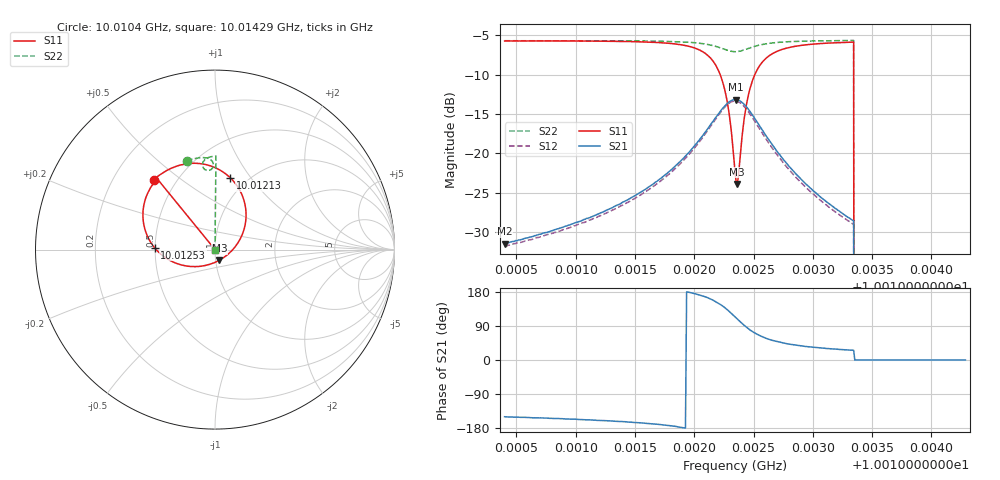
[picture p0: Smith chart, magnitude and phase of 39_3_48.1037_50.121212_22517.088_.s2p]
#  HZ  S  RI  R  50.00
! Rohde & Schwarz Vector Network Analyzer
! Rohde-Schwarz,ZNB20-2Port,1311601062101988,3.16
! Created: UTC 12/23/2023, 3:38:33 AM
! freq[Hz]  re:S11  im:S11  re:S21  im:S21  re:S12  im:S12  re:S22  im:S22
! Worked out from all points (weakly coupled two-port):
!   401 points, 10.0104 GHz to 10.01429 GHz, reference 50 ohm
!   highest |S21| = -13.16 dB at 10.01235 GHz (marker M1); lowest = -31.4 dB at 10.0104 GHz (marker M2)
!   lowest |S11| = -23.9 dB at 10.01236 GHz (marker M3), VSWR 1.14, Z = 52.1 - j6.21 ohm
!   |S11| at or under -10 dB: 10.01222 GHz to 10.01251 GHz (291.9 kHz wide, 0.00292 % of centre); 10.01334 GHz to end of sweep
!   |S22| runs from - to -5.7 dB; largest |S21 - S12| = 0.01
!   S11 on the Smith chart (normalised r, x): 10.0104 GHz: 0.38, +0.40; 10.01213 GHz: 0.84, +0.80; 10.01253 GHz: 0.50, +0.01; 10.01429 GHz: 1.00, +0.00
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1.00104e10  -0.3408 0.3896  -0.0231 -0.0135  -0.0216 -0.0142  -0.1564 0.4953
1.0011051e10  -0.2841 0.432  -0.0346 -0.0145  -0.0326 -0.0157  -0.1127 0.5071
1.0011702e10  -0.1686 0.4765  -0.0671 -0.0118  -0.064 -0.0146  -0.0612 0.5124
1.0011984e10  -0.0382 0.4704  -0.1076 0.00648  -0.1045 0.000775  -0.0311 0.505
1.001213e10  0.0858 0.3992  -0.142 0.046  -0.1406 0.037  -0.0136 0.4888
1.0012198e10  0.1481 0.3101  -0.1538 0.0857  -0.155 0.0756  -0.00893 0.474
1.0012256e10  0.1732 0.1875  -0.1497 0.1325  -0.1525 0.1235  -0.012 0.4581
1.0012295e10  0.1535 0.0881  -0.1314 0.1672  -0.1354 0.1591  -0.0199 0.4476
1.0012343e10  0.0722 -0.0263  -0.0888 0.2009  -0.094 0.1936  -0.0356 0.4409
1.0012353e10  0.0483 -0.0445  -0.0782 0.2053  -0.083 0.1983  -0.0394 0.4407
1.0012363e10  0.0243 -0.0593  -0.068 0.2082  -0.0722 0.2014  -0.043 0.4409
1.0012373e10  -0.00258 -0.0723  -0.057 0.2101  -0.0615 0.2034  -0.0464 0.4417
1.0012441e10  -0.1872 -0.0856  0.0127 0.197  0.00696 0.1907  -0.0647 0.455
1.0012479e10  -0.2684 -0.0501  0.0398 0.1761  0.033 0.1707  -0.0691 0.4655
1.0012528e10  -0.337 0.0109  0.0588 0.1478  0.0521 0.1433  -0.0696 0.4777
1.0012615e10  -0.3912 0.1157  0.0704 0.1047  0.0638 0.102  -0.0628 0.4939
1.0012732e10  -0.4009 0.2154  0.0662 0.0688  0.0606 0.0678  -0.0502 0.5062
1.0012994e10  -0.3679 0.3291  0.0487 0.0331  0.0449 0.0333  -0.0237 0.5171
1.0013325e10  -0.324 0.392  0.0343 0.0165  0.0317 0.0175  0.0037 0.5213
1.0013373e10  0 0  0 0  0 0  0 0
1.0013645e10  0 0  0 0  0 0  0 0
1.0014286e10  0 0  0 0  0 0  0 0
